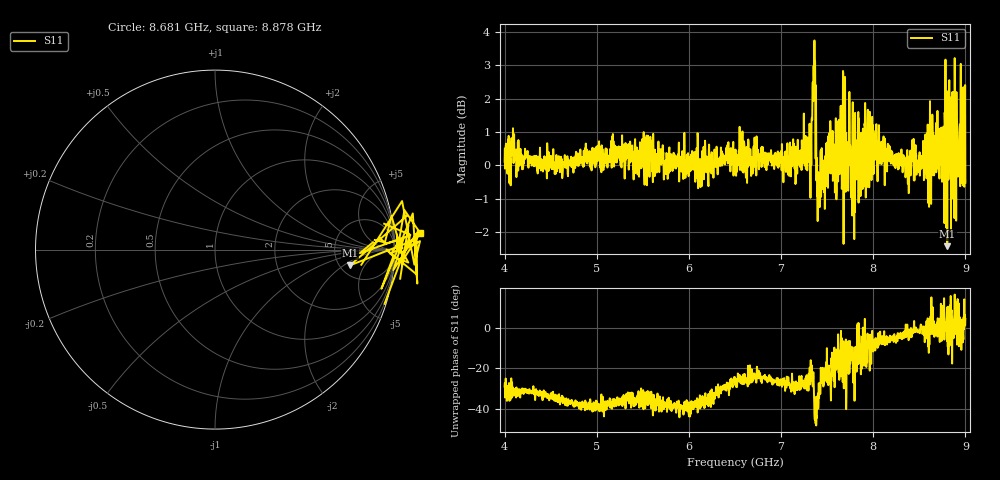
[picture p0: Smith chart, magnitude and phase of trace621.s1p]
! Created with skrf 1.8.0 (http://scikit-rf.org).
# Hz S RI R 50.0
!freq ReS11 ImS11
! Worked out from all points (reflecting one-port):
!   1601 points, 4 GHz to 9 GHz, reference 50 ohm
!   lowest |S11| = -2.4 dB at 8.803 GHz (marker M1), VSWR 7.23, Z = 308 - j127 ohm
!   phase of S11 starts at -29 deg and turns +33 deg over the sweep
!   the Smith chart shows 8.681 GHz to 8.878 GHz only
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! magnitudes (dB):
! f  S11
! 4 GHz  0.1
! 4.625 GHz  -0.4
! 5.25 GHz  0.2
! 5.875 GHz  0.0
! 6.5 GHz  0.1
! 7.125 GHz  0.6
! 7.294 GHz  0.4
! 7.356 GHz  2.3
! 7.409 GHz  -0.9
! 7.512 GHz  0.9
! 7.6 GHz  -1.0
! 7.638 GHz  1.3
! 7.65 GHz  0.5
! 7.75 GHz  0.6
! 7.788 GHz  -0.3
! 7.822 GHz  -0.4
! 7.872 GHz  0.2
! 7.928 GHz  0.3
! 7.981 GHz  -0.4
! 8.038 GHz  0.3
! 8.375 GHz  -0.5
! 8.441 GHz  -0.4
! 8.603 GHz  -0.8
! 8.656 GHz  0.9
! 8.803 GHz  -2.4
! 8.919 GHz  -0.3
! 8.972 GHz  1.0
! 9 GHz  -0.5
